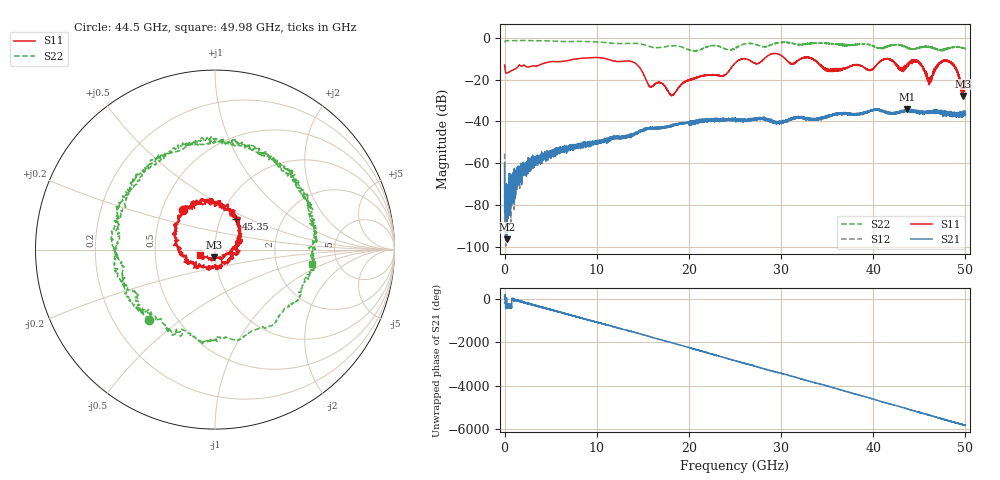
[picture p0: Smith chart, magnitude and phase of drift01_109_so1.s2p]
!Created with skrf (http://scikit-rf.org).
# Hz S RI R 50.0
!freq ReS11 ImS11 ReS21 ImS21 ReS12 ImS12 ReS22 ImS22
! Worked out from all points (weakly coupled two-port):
!   10001 points, 300 kHz to 50 GHz, reference 50 ohm
!   highest |S21| = -34.07 dB at 43.68 GHz (marker M1); lowest = -96.1 dB at 285.3 MHz (marker M2)
!   lowest |S11| = -27.8 dB at 49.73 GHz (marker M3), VSWR 1.08, Z = 49.5 - j4.02 ohm
!   |S11| at or under -10 dB: start of sweep to 8.069 GHz; 10.91 GHz to 26 GHz (15.09 GHz wide, 81.8 % of centre); 41.62 GHz to end of sweep (the widest 3 of 17)
!   |S22| runs from -6.4 to -1.4 dB; largest |S21 - S12| = 0.0045
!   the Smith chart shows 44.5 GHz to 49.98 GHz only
!   S11 on the Smith chart (normalised r, x): 44.5 GHz: 0.64, +0.31; 45.35 GHz: 1.18, +0.42; 49.98 GHz: 0.84, -0.05
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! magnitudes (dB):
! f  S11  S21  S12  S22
! 300 kHz  -13.1  -59.8  -55.3  -2.1
! 285.3 MHz  -16.9  -96.1  -79.2  -1.4
! 2.675 GHz  -14.0  -62.2  -60.9  -1.4
! 8.335 GHz  -9.9  -51.7  -51.8  -1.8
! 13.8 GHz  -11.4  -46.0  -46.5  -2.7
! 15.74 GHz  -23.3  -43.4  -43.1  -4.2
! 16.67 GHz  -21.3  -43.4  -43.2  -4.8
! 18.21 GHz  -27.3  -42.3  -41.9  -3.8
! 25 GHz  -12.2  -39.0  -39.2  -5.1
! 29.24 GHz  -7.6  -40.4  -40.3  -3.0
! 31.16 GHz  -12.5  -38.6  -38.8  -2.6
! 33.34 GHz  -10.0  -38.6  -39.0  -2.7
! 35.38 GHz  -15.4  -37.3  -37.1  -2.8
! 41.67 GHz  -10.2  -35.8  -36.1  -4.2
! 43.68 GHz  -12.9  -34.1  -34.7  -4.7
! 44.5 GHz  -10.9  -35.3  -35.4  -5.4
! 45.35 GHz  -13.7  -35.1  -35.6  -4.5
! 46.12 GHz  -19.9  -35.3  -35.3  -4.3
! 48.23 GHz  -11.7  -36.2  -36.8  -5.0
! 49.73 GHz  -27.8  -36.2  -36.3  -5.1
! 49.98 GHz  -20.8  -36.9  -36.8  -5.2
! 50 GHz  -21.6  -36.9  -36.8  -5.4
